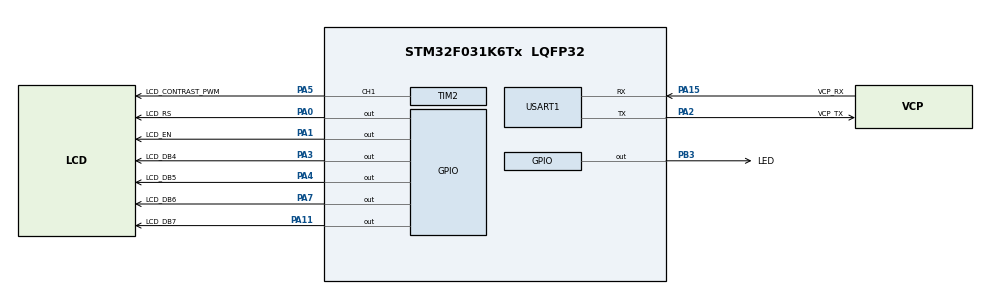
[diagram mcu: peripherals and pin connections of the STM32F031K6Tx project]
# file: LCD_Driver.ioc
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Mcu.Family=STM32F0
PA14.GPIO_Label=SWCLK
PA0.GPIO_Label=LCD_RS
PA11.GPIO_Label=LCD_DB7
ProjectManager.StackSize=0x400
TIM2.Pulse-PWM\ Generation1\ CH1=128
USART1.VirtualMode-Asynchronous=VM_ASYNC
PA13.Signal=SYS_SWDIO
PA15.GPIO_Label=VCP_RX
ProjectManager.TargetToolchain=STM32CubeIDE
PA1.Signal=GPIO_Output
PF0-OSC_IN.Mode=HSE-External-Clock-Source
PA5.Signal=S_TIM2_CH1_ETR
board=NUCLEO-F031K6
PA15.Mode=Asynchronous
VP_TIM2_VS_ClockSourceINT.Mode=Internal
PA14.Mode=Serial_Wire
PA1.GPIO_Label=LCD_EN
TIM2.Channel-PWM\ Generation1\ CH1=TIM_CHANNEL_1
TIM2.Period=255
PA13.Mode=Serial_Wire
Mcu.Name=STM32F031K6Tx
PA2.Signal=USART1_TX
PA13.GPIO_Label=SWDIO
PA0.Signal=GPIO_Output
PB3.Signal=GPIO_Output
PA4.Signal=GPIO_Output
Mcu.Package=LQFP32
TIM2.Prescaler=8-1
PA7.GPIO_Label=LCD_DB6
PA5.GPIO_Label=LCD_CONTRAST_PWM
PA2.GPIO_Label=VCP_TX
PA11.Signal=GPIO_Output
SH.S_TIM2_CH1_ETR.0=TIM2_CH1,PWM Generation1 CH1
PA14.Signal=SYS_SWCLK
PA15.Signal=USART1_RX
ProjectManager.HeapSize=0x200
PA2.Mode=Asynchronous
TIM2.AutoReloadPreload=TIM_AUTORELOAD_PRELOAD_ENABLE
PF0-OSC_IN.Signal=RCC_OSC_IN
PA4.GPIO_Label=LCD_DB5
PA3.GPIO_Label=LCD_DB4
PA3.Signal=GPIO_Output
PA7.Signal=GPIO_Output
PB3.GPIO_Label=LED

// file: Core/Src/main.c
/* USER CODE BEGIN Header */
/**
  ******************************************************************************
  * @file           : main.c
  * @brief          : Main program body
  ******************************************************************************
  * @attention
  *
  * <h2><center>&copy; Copyright (c) 2021 STMicroelectronics.
  * All rights reserved.</center></h2>
  *
  * This software component is licensed by ST under BSD 3-Clause license,
  * the "License"; You may not use this file except in compliance with the
  * License. You may obtain a copy of the License at:
  *                        opensource.org/licenses/BSD-3-Clause
  *
  ******************************************************************************
  */
/* USER CODE END Header */
#include "main.h"

/* USER CODE BEGIN Includes */
#include <stdio.h>

/* USER CODE END Includes */

TIM_HandleTypeDef htim2;

UART_HandleTypeDef huart1;

void SystemClock_Config(void);
static void MX_GPIO_Init(void);
static void MX_USART1_UART_Init(void);
static void MX_TIM2_Init(void);
/* USER CODE BEGIN PFP */

void LcdContrast(unsigned char contrast_percent);
void LcdInit(void);
void LcdWriteCmd(unsigned char DB7, unsigned char DB6, unsigned char DB5, unsigned char DB4, unsigned char DB3, unsigned char DB2, unsigned char DB1, unsigned char DB0);
void LcdWriteData(unsigned char DB7, unsigned char DB6, unsigned char DB5, unsigned char DB4, unsigned char DB3, unsigned char DB2, unsigned char DB1, unsigned char DB0);
void LcdWriteDataChar(uint8_t byte);
void LcdPrintString(char string[]);

#define BIT0 1
#define BIT1 2
#define BIT2 4
#define BIT3 8
#define BIT4 16
#define BIT5 32
#define BIT6 64
#define BIT7 128

/* USER CODE END PFP */

int main(void)
{
  /* USER CODE BEGIN 1 */
	// UART
	char uart_buf[50];
	int uart_buf_len;
	uint16_t timer_val;

  /* USER CODE END 1 */

  /* MCU Configuration--------------------------------------------------------*/

  /* Reset of all peripherals, Initializes the Flash interface and the Systick. */
  HAL_Init();

  /* Configure the system clock */
  SystemClock_Config();

  /* Initialize all configured peripherals */
  MX_GPIO_Init();
  MX_USART1_UART_Init();
  MX_TIM2_Init();
  /* USER CODE BEGIN 2 */

  // Start PWM for LCD Contrast
  LcdContrast(15); // Percentage from 255 max duty cycle
  HAL_TIM_PWM_Start(&htim2, TIM_CHANNEL_1);

  //Initialize LCD
  LcdInit();
  LcdPrintString("testing long strings.");
  //LcdWriteDataChar(' ');
  //LcdWriteDataChar('t');
  //LcdWriteDataChar('E');
  //LcdWriteDataChar('s');
  //LcdWriteDataChar('T');

  /* Timer 2
   * - Set to 1Mhz (1cnt/us)
   * - 32 bit count to 4294967295 in mode UP
   */

  /*
   * Timer 16
   * - Set to 10KHz (1cnt/100us)
   * - 16 bit count
   */

  // Say hello
  uart_buf_len = sprintf(uart_buf, "LCD driver test program started!\r\n");
  HAL_UART_Transmit(&huart1, (uint8_t *)uart_buf, uart_buf_len, 100);

  /* USER CODE END 2 */

  /* Infinite loop */
  while (1)
  {

  }
}

void SystemClock_Config(void)
{
  RCC_OscInitTypeDef RCC_OscInitStruct = {0};
  RCC_ClkInitTypeDef RCC_ClkInitStruct = {0};
  RCC_PeriphCLKInitTypeDef PeriphClkInit = {0};

  /** Initializes the RCC Oscillators according to the specified parameters
  * in the RCC_OscInitTypeDef structure.
  */
  RCC_OscInitStruct.OscillatorType = RCC_OSCILLATORTYPE_HSI;
  RCC_OscInitStruct.HSIState = RCC_HSI_ON;
  RCC_OscInitStruct.HSICalibrationValue = RCC_HSICALIBRATION_DEFAULT;
  RCC_OscInitStruct.PLL.PLLState = RCC_PLL_NONE;
  if (HAL_RCC_OscConfig(&RCC_OscInitStruct) != HAL_OK)
  {
    Error_Handler();
  }
  /** Initializes the CPU, AHB and APB buses clocks
  */
  RCC_ClkInitStruct.ClockType = RCC_CLOCKTYPE_HCLK|RCC_CLOCKTYPE_SYSCLK
                              |RCC_CLOCKTYPE_PCLK1;
  RCC_ClkInitStruct.SYSCLKSource = RCC_SYSCLKSOURCE_HSI;
  RCC_ClkInitStruct.AHBCLKDivider = RCC_SYSCLK_DIV1;
  RCC_ClkInitStruct.APB1CLKDivider = RCC_HCLK_DIV1;

  if (HAL_RCC_ClockConfig(&RCC_ClkInitStruct, FLASH_LATENCY_0) != HAL_OK)
  {
    Error_Handler();
  }
  PeriphClkInit.PeriphClockSelection = RCC_PERIPHCLK_USART1;
  PeriphClkInit.Usart1ClockSelection = RCC_USART1CLKSOURCE_PCLK1;
  if (HAL_RCCEx_PeriphCLKConfig(&PeriphClkInit) != HAL_OK)
  {
    Error_Handler();
  }
}

static void MX_TIM2_Init(void)
{

  TIM_ClockConfigTypeDef sClockSourceConfig = {0};
  TIM_MasterConfigTypeDef sMasterConfig = {0};
  TIM_OC_InitTypeDef sConfigOC = {0};

  htim2.Instance = TIM2;
  htim2.Init.Prescaler = 8-1;
  htim2.Init.CounterMode = TIM_COUNTERMODE_UP;
  htim2.Init.Period = 255;
  htim2.Init.ClockDivision = TIM_CLOCKDIVISION_DIV1;
  htim2.Init.AutoReloadPreload = TIM_AUTORELOAD_PRELOAD_ENABLE;
  if (HAL_TIM_Base_Init(&htim2) != HAL_OK)
  {
    Error_Handler();
  }
  sClockSourceConfig.ClockSource = TIM_CLOCKSOURCE_INTERNAL;
  if (HAL_TIM_ConfigClockSource(&htim2, &sClockSourceConfig) != HAL_OK)
  {
    Error_Handler();
  }
  if (HAL_TIM_PWM_Init(&htim2) != HAL_OK)
  {
    Error_Handler();
  }
  sMasterConfig.MasterOutputTrigger = TIM_TRGO_RESET;
  sMasterConfig.MasterSlaveMode = TIM_MASTERSLAVEMODE_DISABLE;
  if (HAL_TIMEx_MasterConfigSynchronization(&htim2, &sMasterConfig) != HAL_OK)
  {
    Error_Handler();
  }
  sConfigOC.OCMode = TIM_OCMODE_PWM1;
  sConfigOC.Pulse = 128;
  sConfigOC.OCPolarity = TIM_OCPOLARITY_HIGH;
  sConfigOC.OCFastMode = TIM_OCFAST_DISABLE;
  if (HAL_TIM_PWM_ConfigChannel(&htim2, &sConfigOC, TIM_CHANNEL_1) != HAL_OK)
  {
    Error_Handler();
  }
  HAL_TIM_MspPostInit(&htim2);

}

static void MX_USART1_UART_Init(void)
{

  huart1.Instance = USART1;
  huart1.Init.BaudRate = 38400;
  huart1.Init.WordLength = UART_WORDLENGTH_8B;
  huart1.Init.StopBits = UART_STOPBITS_1;
  huart1.Init.Parity = UART_PARITY_NONE;
  huart1.Init.Mode = UART_MODE_TX_RX;
  huart1.Init.HwFlowCtl = UART_HWCONTROL_NONE;
  huart1.Init.OverSampling = UART_OVERSAMPLING_16;
  huart1.Init.OneBitSampling = UART_ONE_BIT_SAMPLE_DISABLE;
  huart1.AdvancedInit.AdvFeatureInit = UART_ADVFEATURE_NO_INIT;
  if (HAL_UART_Init(&huart1) != HAL_OK)
  {
    Error_Handler();
  }

}

static void MX_GPIO_Init(void)
{
  GPIO_InitTypeDef GPIO_InitStruct = {0};

  /* GPIO Ports Clock Enable */
  __HAL_RCC_GPIOF_CLK_ENABLE();
  __HAL_RCC_GPIOA_CLK_ENABLE();
  __HAL_RCC_GPIOB_CLK_ENABLE();

  /*Configure GPIO pin Output Level */
  HAL_GPIO_WritePin(GPIOA, LCD_RS_Pin|LCD_EN_Pin|LCD_DB4_Pin|LCD_DB5_Pin
                          |LCD_DB6_Pin|LCD_DB7_Pin, GPIO_PIN_RESET);

  /*Configure GPIO pin Output Level */
  HAL_GPIO_WritePin(LED_GPIO_Port, LED_Pin, GPIO_PIN_RESET);

  /*Configure GPIO pins : LCD_RS_Pin LCD_EN_Pin LCD_DB4_Pin LCD_DB5_Pin
                           LCD_DB6_Pin LCD_DB7_Pin */
  GPIO_InitStruct.Pin = LCD_RS_Pin|LCD_EN_Pin|LCD_DB4_Pin|LCD_DB5_Pin
                          |LCD_DB6_Pin|LCD_DB7_Pin;
  GPIO_InitStruct.Mode = GPIO_MODE_OUTPUT_PP;
  GPIO_InitStruct.Pull = GPIO_NOPULL;
  GPIO_InitStruct.Speed = GPIO_SPEED_FREQ_LOW;
  HAL_GPIO_Init(GPIOA, &GPIO_InitStruct);

  /*Configure GPIO pin : LED_Pin */
  GPIO_InitStruct.Pin = LED_Pin;
  GPIO_InitStruct.Mode = GPIO_MODE_OUTPUT_PP;
  GPIO_InitStruct.Pull = GPIO_NOPULL;
  GPIO_InitStruct.Speed = GPIO_SPEED_FREQ_LOW;
  HAL_GPIO_Init(LED_GPIO_Port, &GPIO_InitStruct);

}

/* USER CODE BEGIN 4 */

void LcdContrast(unsigned char contrast_percent)
{
	//TO-DO: This should be upgraded to a percentage input using fixed point math
	__HAL_TIM_SET_COMPARE(&htim2, TIM_CHANNEL_1,contrast_percent);
}

void LcdInit(void)
{
	/*
	 * Generic data transmission to LCD
	 */

	//
	// Clear Display
	//
	LcdWriteCmd(0,0,0,0,0,0,0,1);

	//Delay
	HAL_Delay(5); //5ms Delay

	//
	// Return cursor to HOME
	//
	LcdWriteCmd(0,0,0,0,0,0,1,0);

	//Delay
	HAL_Delay(50); //50ms Delay

	//
	// Set cursor to blinking
	//
	LcdWriteCmd(0,0,0,0,1,1,1,1);

	//Delay
	HAL_Delay(50); //50ms Delay

}

void LcdWriteCmd(unsigned char DB7, unsigned char DB6, unsigned char DB5, unsigned char DB4, unsigned char DB3, unsigned char DB2, unsigned char DB1, unsigned char DB0)
{
	//Enable HIGH
	HAL_GPIO_WritePin(LCD_EN_GPIO_Port, LCD_EN_Pin, 1);

	//Delay
	HAL_Delay(5); //5ms Delay

	//Set DBx data 4-MSB
	HAL_GPIO_WritePin(LCD_DB7_GPIO_Port, LCD_DB7_Pin, DB7);
	HAL_GPIO_WritePin(LCD_DB6_GPIO_Port, LCD_DB6_Pin, DB6);
	HAL_GPIO_WritePin(LCD_DB5_GPIO_Port, LCD_DB5_Pin, DB5);
	HAL_GPIO_WritePin(LCD_DB4_GPIO_Port, LCD_DB4_Pin, DB4);

	//Delay
	HAL_Delay(5); //5ms Delay

	//Enable LOW
	HAL_GPIO_WritePin(LCD_EN_GPIO_Port, LCD_EN_Pin, 0);

	//Delay
	HAL_Delay(5); //5ms Delay

	//Enable HIGH
	HAL_GPIO_WritePin(LCD_EN_GPIO_Port, LCD_EN_Pin, 1);

	//Delay
	HAL_Delay(5); //5ms Delay

	//Set DBx data 4-LSB
	HAL_GPIO_WritePin(LCD_DB7_GPIO_Port, LCD_DB7_Pin, DB3);
	HAL_GPIO_WritePin(LCD_DB6_GPIO_Port, LCD_DB6_Pin, DB2);
	HAL_GPIO_WritePin(LCD_DB5_GPIO_Port, LCD_DB5_Pin, DB1);
	HAL_GPIO_WritePin(LCD_DB4_GPIO_Port, LCD_DB4_Pin, DB0);

	//Delay
	HAL_Delay(5); //5ms Delay

	//Enabled LOW
	HAL_GPIO_WritePin(LCD_EN_GPIO_Port, LCD_EN_Pin, 0);

	//Delay
	HAL_Delay(5); //5ms Delay

}

void LcdWriteData(unsigned char DB7, unsigned char DB6, unsigned char DB5, unsigned char DB4, unsigned char DB3, unsigned char DB2, unsigned char DB1, unsigned char DB0)
{
	//RS HIGH
	HAL_GPIO_WritePin(LCD_RS_GPIO_Port, LCD_RS_Pin, 1);

	//Enable HIGH
	HAL_GPIO_WritePin(LCD_EN_GPIO_Port, LCD_EN_Pin, 1);

	//Set DBx data 4-MSB
	HAL_GPIO_WritePin(LCD_DB7_GPIO_Port, LCD_DB7_Pin, DB7);
	HAL_GPIO_WritePin(LCD_DB6_GPIO_Port, LCD_DB6_Pin, DB6);
	HAL_GPIO_WritePin(LCD_DB5_GPIO_Port, LCD_DB5_Pin, DB5);
	HAL_GPIO_WritePin(LCD_DB4_GPIO_Port, LCD_DB4_Pin, DB4);

	//Enable LOW
	HAL_GPIO_WritePin(LCD_EN_GPIO_Port, LCD_EN_Pin, 0);

	//Delay
	HAL_Delay(5); //5ms Delay

	//Enable HIGH
	HAL_GPIO_WritePin(LCD_EN_GPIO_Port, LCD_EN_Pin, 1);

	//Set DBx data 4-LSB
	HAL_GPIO_WritePin(LCD_DB7_GPIO_Port, LCD_DB7_Pin, DB3);
	HAL_GPIO_WritePin(LCD_DB6_GPIO_Port, LCD_DB6_Pin, DB2);
	HAL_GPIO_WritePin(LCD_DB5_GPIO_Port, LCD_DB5_Pin, DB1);
	HAL_GPIO_WritePin(LCD_DB4_GPIO_Port, LCD_DB4_Pin, DB0);

	//Enabled LOW
	HAL_GPIO_WritePin(LCD_EN_GPIO_Port, LCD_EN_Pin, 0);

	//Delay
	HAL_Delay(5); //5ms Delay

	//RS LOW
	HAL_GPIO_WritePin(LCD_RS_GPIO_Port, LCD_RS_Pin, 0);

	//Delay
	HAL_Delay(5); //5ms Delay

}

void LcdWriteDataChar(uint8_t byte)
{

	//RS HIGH
	HAL_GPIO_WritePin(LCD_RS_GPIO_Port, LCD_RS_Pin, 1);

	//Delay
	HAL_Delay(1); //1ms Delay

	//Enable HIGH
	HAL_GPIO_WritePin(LCD_EN_GPIO_Port, LCD_EN_Pin, 1);

	//Set DBx data 4-MSB
	HAL_GPIO_WritePin(LCD_DB7_GPIO_Port, LCD_DB7_Pin, ((BIT7&byte)>>7));
	HAL_GPIO_WritePin(LCD_DB6_GPIO_Port, LCD_DB6_Pin, ((BIT6&byte)>>6));
	HAL_GPIO_WritePin(LCD_DB5_GPIO_Port, LCD_DB5_Pin, ((BIT5&byte)>>5));
	HAL_GPIO_WritePin(LCD_DB4_GPIO_Port, LCD_DB4_Pin, ((BIT4&byte)>>4));

	//Delay
	HAL_Delay(1); //1ms Delay

	//Enable LOW
	HAL_GPIO_WritePin(LCD_EN_GPIO_Port, LCD_EN_Pin, 0);

	//Delay
	HAL_Delay(1); //1ms Delay

	//Enable HIGH
	HAL_GPIO_WritePin(LCD_EN_GPIO_Port, LCD_EN_Pin, 1);

	//Set DBx data 4-LSB
	HAL_GPIO_WritePin(LCD_DB7_GPIO_Port, LCD_DB7_Pin, ((BIT3&byte)>>3));
	HAL_GPIO_WritePin(LCD_DB6_GPIO_Port, LCD_DB6_Pin, ((BIT2&byte)>>2));
	HAL_GPIO_WritePin(LCD_DB5_GPIO_Port, LCD_DB5_Pin, ((BIT1&byte)>>1));
	HAL_GPIO_WritePin(LCD_DB4_GPIO_Port, LCD_DB4_Pin, ((BIT0&byte)>>0));

	//Delay
	HAL_Delay(1); //1ms Delay

	//Enabled LOW
	HAL_GPIO_WritePin(LCD_EN_GPIO_Port, LCD_EN_Pin, 0);

	//Delay
	HAL_Delay(1); //1ms Delay

	//RS LOW
	HAL_GPIO_WritePin(LCD_RS_GPIO_Port, LCD_RS_Pin, 0);

	//Delay
	HAL_Delay(1); //1ms Delay

}

void LcdPrintString(char string[])
{
	unsigned char i;
	for(i=0; i<strlen(string); i++)
	{
		LcdWriteDataChar(string[i]);
	}
}

/* USER CODE END 4 */

void Error_Handler(void)
{
  __disable_irq();
  while (1)
  {
  }
}

/************************ (C) COPYRIGHT STMicroelectronics *****END OF FILE****/
